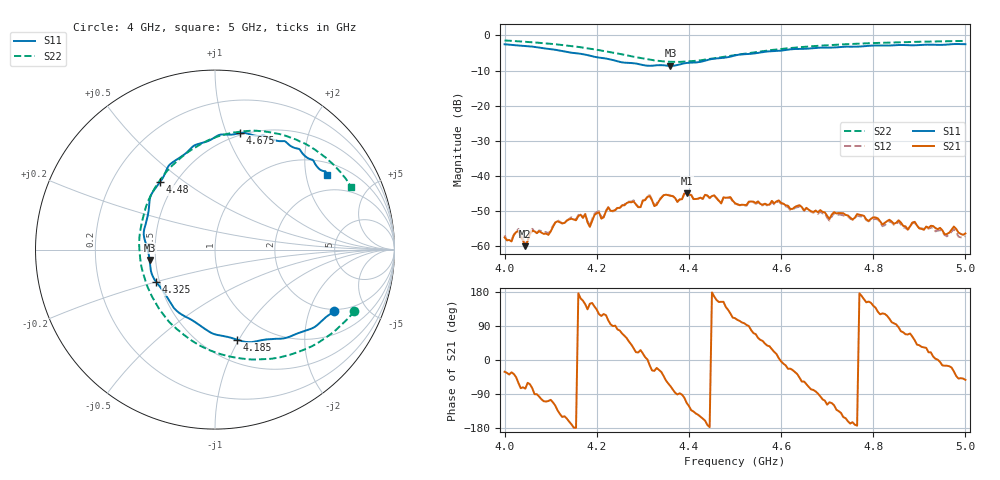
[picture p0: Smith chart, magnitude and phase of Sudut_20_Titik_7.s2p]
# Hz S RI R 50
! CMT, C1220, 16058040, 17.2.0/1
! Date: 15/08/2018 12:00:18
! Data: Format (Calibration Info)
! Freq  S11: Re/Im (F2)  S21: Re/Im (F2)  S12: Re/Im (F2)  S22: Re/Im (F2)
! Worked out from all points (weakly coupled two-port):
!   201 points, 4 GHz to 5 GHz, reference 50 ohm
!   highest |S21| = -44.94 dB at 4.395 GHz (marker M1); lowest = -60.0 dB at 4.045 GHz (marker M2)
!   lowest |S11| = -8.7 dB at 4.36 GHz (marker M3), VSWR 2.17, Z = 23.1 - j3.12 ohm
!   |S11| at or under -10 dB: nowhere
!   |S22| runs from -7.5 to -1.4 dB; largest |S21 - S12| = 0.00022
!   S11 on the Smith chart (normalised r, x): 4 GHz: 1.92, -2.99; 4.185 GHz: 0.72, -0.98; 4.325 GHz: 0.48, -0.20; 4.48 GHz: 0.41, +0.40; 4.675 GHz: 0.48, +1.12; 5 GHz: 1.41, +2.66
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4e9  0.6653 -0.3428  0.00114 -0.000689  0.00124 -0.000721  0.7755 -0.3433
4.03e9  0.6045 -0.3887  0.00081 -0.00144  0.000903 -0.00151  0.717 -0.4072
4.045e9  0.5702 -0.42  0.000251 -0.000969  0.000354 -0.001  0.684 -0.4386
4.06e9  0.5348 -0.4411  0.00045 -0.00161  0.000493 -0.0017  0.6487 -0.4682
4.095e9  0.4295 -0.4796  -0.000452 -0.00138  -0.000572 -0.00141  0.5529 -0.5315
4.115e9  0.3663 -0.4965  -0.00155 -0.00165  -0.00157 -0.00173  0.486 -0.5617
4.17e9  0.1693 -0.5142  -0.00232 0.001  -0.00242 0.000912  0.2795 -0.61
4.185e9  0.1209 -0.5011  -0.00161 0.000988  -0.00169 0.00101  0.216 -0.6126
4.225e9  -0.0259 -0.4612  -0.000899 0.00346  -0.000857 0.00348  0.0388 -0.5846
4.295e9  -0.2483 -0.2953  0.00324 0.00159  0.00326 0.00153  -0.2517 -0.407
4.315e9  -0.2994 -0.2171  0.00499 -0.00128  0.00516 -0.00136  -0.3136 -0.3263
4.325e9  -0.3263 -0.1821  0.00326 -0.00178  0.00333 -0.00192  -0.339 -0.2827
4.335e9  -0.3463 -0.1498  0.00397 -0.00194  0.00407 -0.00213  -0.3627 -0.237
4.36e9  -0.3647 -0.0582  0.00185 -0.00489  0.00177 -0.00491  -0.4048 -0.1161
4.395e9  -0.397 0.083  -0.00222 -0.00521  -0.00231 -0.00521  -0.422 0.0568
4.48e9  -0.3078 0.3745  -0.00374 0.00315  -0.00362 0.00313  -0.2908 0.4079
4.5e9  -0.2704 0.4426  -0.00143 0.00384  -0.00139 0.00377  -0.2388 0.4676
4.595e9  -0.05 0.6007  0.00447 0.000375  0.00432 0.000342  0.0324 0.6359
4.67e9  0.1315 0.6472  0.000587 -0.00301  0.000497 -0.00294  0.241 0.6612
4.675e9  0.1415 0.6496  0.000397 -0.00319  0.00031 -0.00313  0.2537 0.6603
4.835e9  0.4377 0.5687  -0.000779 0.00225  -0.000812 0.00211  0.5745 0.5442
5e9  0.6253 0.4131  0.000928 -0.0012  0.000903 -0.00106  0.7602 0.3473
